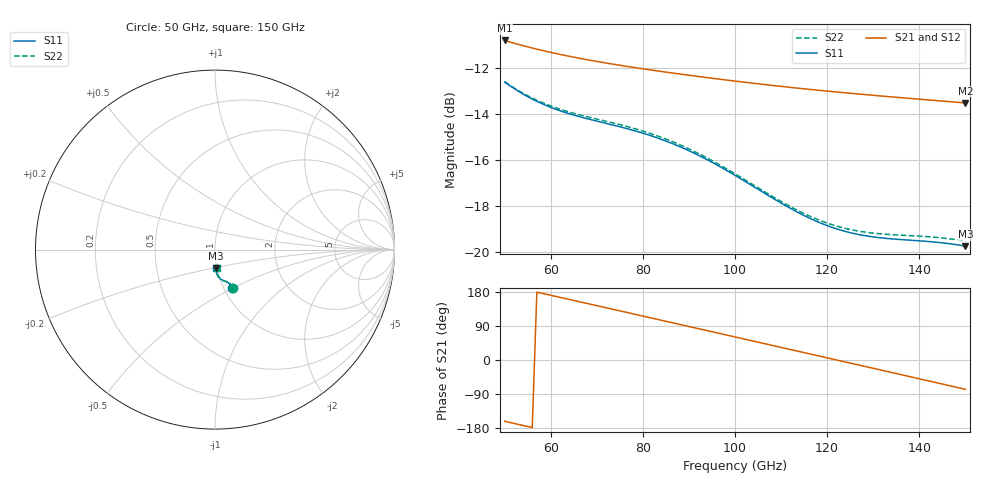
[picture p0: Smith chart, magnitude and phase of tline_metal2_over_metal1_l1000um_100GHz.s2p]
#  GHZ S DB R 50
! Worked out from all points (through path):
!   101 points, 50 GHz to 150 GHz, reference 50 ohm
!   highest |S21| = -10.78 dB at 50 GHz (marker M1); lowest = -13.5 dB at 150 GHz (marker M2)
!   group delay of S21, straight-line fit = 7.65 ps
!   lowest |S11| = -19.8 dB at 150 GHz (marker M3), VSWR 1.23, Z = 49.5 - j10.3 ohm
!   |S11| at or under -10 dB: start of sweep to end of sweep
!   |S22| runs from -19.5 to -12.6 dB; largest |S21 - S12| = 2.7e-13
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50  -12.60 -66.5  -10.78 -161.7  -10.78 -161.7  -12.58 -65.2
54  -13.12 -66.9  -11.01 -172.7  -11.01 -172.7  -13.08 -65.5
58  -13.53 -67.2  -11.21 176.3  -11.21 176.3  -13.48 -65.8
62  -13.85 -67.6  -11.39 165.3  -11.39 165.3  -13.78 -66.2
67  -14.15 -68.7  -11.59 151.7  -11.59 151.7  -14.06 -67.3
72  -14.40 -70.3  -11.77 137.9  -11.77 137.9  -14.31 -68.9
76  -14.60 -72.0  -11.90 127.0  -11.90 127.0  -14.51 -70.7
80  -14.83 -74.0  -12.02 116.0  -12.02 116.0  -14.74 -72.7
84  -15.10 -76.2  -12.13 104.9  -12.13 104.9  -15.01 -74.9
88  -15.41 -78.5  -12.25 93.9  -12.25 93.9  -15.33 -77.2
92  -15.79 -80.7  -12.35 82.9  -12.35 82.9  -15.71 -79.3
96  -16.21 -82.7  -12.46 71.9  -12.46 71.9  -16.14 -81.3
100  -16.67 -84.3  -12.55 60.8  -12.55 60.8  -16.60 -82.8
105  -17.28 -85.7  -12.67 47.0  -12.67 47.0  -17.21 -84.1
109  -17.76 -86.3  -12.76 36.0  -12.76 36.0  -17.69 -84.6
117  -18.61 -85.9  -12.93 14.0  -12.93 14.0  -18.52 -84.1
121  -18.93 -85.3  -13.01 2.9  -13.01 2.9  -18.82 -83.3
125  -19.17 -84.6  -13.09 -8.1  -13.09 -8.1  -19.03 -82.6
129  -19.33 -84.0  -13.16 -19.1  -13.16 -19.1  -19.17 -82.1
134  -19.44 -83.7  -13.24 -33.0  -13.24 -33.0  -19.26 -81.9
142  -19.56 -84.5  -13.38 -55.1  -13.38 -55.1  -19.35 -82.9
150  -19.76 -86.7  -13.51 -77.4  -13.51 -77.4  -19.54 -85.3
